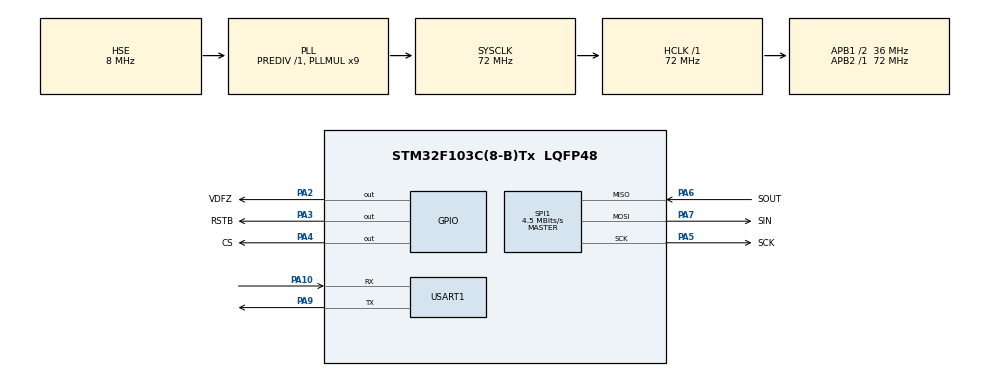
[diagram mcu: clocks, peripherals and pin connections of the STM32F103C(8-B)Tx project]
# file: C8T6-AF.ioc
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Mcu.Family=STM32F1
Mcu.Name=STM32F103C(8-B)Tx
Mcu.Package=LQFP48
NVIC.PriorityGroup=NVIC_PRIORITYGROUP_4
NVIC.SPI1_IRQn=true\:0\:0\:false\:false\:true\:true\:true\:true
NVIC.USART1_IRQn=true\:0\:0\:false\:false\:true\:true\:true\:true
PA10.Mode=Asynchronous
PA10.Signal=USART1_RX
PA13.Mode=Serial_Wire
PA13.Signal=SYS_JTMS-SWDIO
PA14.Mode=Serial_Wire
PA14.Signal=SYS_JTCK-SWCLK
PA2.GPIO_Label=VDFZ
PA2.GPIO_PuPd=GPIO_PULLDOWN
PA2.Signal=GPIO_Output
PA3.GPIO_Label=RSTB
PA3.GPIO_PuPd=GPIO_PULLUP
PA3.GPIO_Speed=GPIO_SPEED_FREQ_LOW
PA3.Signal=GPIO_Output
PA4.GPIO_Label=CS
PA4.GPIO_PuPd=GPIO_PULLDOWN
PA4.Signal=GPIO_Output
PA5.GPIO_Label=SCK
PA5.Mode=Full_Duplex_Master
PA5.Signal=SPI1_SCK
PA6.GPIO_Label=SOUT
PA6.Mode=Full_Duplex_Master
PA6.Signal=SPI1_MISO
PA7.GPIO_Label=SIN
PA7.Mode=Full_Duplex_Master
PA7.Signal=SPI1_MOSI
PA9.Mode=Asynchronous
PA9.Signal=USART1_TX
PC14-OSC32_IN.Mode=LSE-External-Oscillator
PC14-OSC32_IN.Signal=RCC_OSC32_IN
PC15-OSC32_OUT.Mode=LSE-External-Oscillator
PC15-OSC32_OUT.Signal=RCC_OSC32_OUT
PD0-OSC_IN.Mode=HSE-External-Oscillator
PD0-OSC_IN.Signal=RCC_OSC_IN
PD1-OSC_OUT.Mode=HSE-External-Oscillator
PD1-OSC_OUT.Signal=RCC_OSC_OUT
ProjectManager.HeapSize=0x200
ProjectManager.StackSize=0x400
ProjectManager.TargetToolchain=MDK-ARM V5.32
RCC.AHBFreq_Value=72000000
RCC.APB1CLKDivider=RCC_HCLK_DIV2
RCC.APB1Freq_Value=36000000
RCC.APB1TimFreq_Value=72000000
RCC.APB2Freq_Value=72000000
RCC.APB2TimFreq_Value=72000000
RCC.HCLKFreq_Value=72000000
RCC.PLLMUL=RCC_PLL_MUL9
RCC.PLLSourceVirtual=RCC_PLLSOURCE_HSE
RCC.SYSCLKFreq_VALUE=72000000
RCC.SYSCLKSource=RCC_SYSCLKSOURCE_PLLCLK
RCC.USBFreq_Value=72000000
SPI1.BaudRatePrescaler=SPI_BAUDRATEPRESCALER_16
SPI1.CLKPhase=SPI_PHASE_2EDGE
SPI1.CLKPolarity=SPI_POLARITY_HIGH
SPI1.CalculateBaudRate=4.5 MBits/s
SPI1.Direction=SPI_DIRECTION_2LINES
SPI1.FirstBit=SPI_FIRSTBIT_LSB
SPI1.Mode=SPI_MODE_MASTER
SPI1.VirtualType=VM_MASTER
USART1.VirtualMode=VM_ASYNC
board=custom

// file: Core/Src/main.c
/* USER CODE BEGIN Header */
/**
  ******************************************************************************
  * @file           : main.c
  * @brief          : Main program body
  ******************************************************************************
  * @attention
  *
  * Copyright (c) 2025 STMicroelectronics.
  * All rights reserved.
  *
  * This software is licensed under terms that can be found in the LICENSE file
  * in the root directory of this software component.
  * If no LICENSE file comes with this software, it is provided AS-IS.
  *
  ******************************************************************************
  */
/* USER CODE END Header */
#include "main.h"
#include "spi.h"
#include "usart.h"
#include "gpio.h"

/* USER CODE BEGIN Includes */
#include "ms41929.h"
#include <stdio.h>
#include <string.h>
/* USER CODE END Includes */

/* USER CODE BEGIN PD */
// COMMAND_TIMEOUT 已在 usart.h 中定义为 1000ms
/* USER CODE END PD */

//* USER CODE BEGIN PV */
// 电机控制相关配置（保留初始化所需的通道和细分默认值）
MS41929_MotorChannel_e motor_channel = MS41929_CHANNEL_AB;  // 默认电机通道
MS41929_SubdivisionMode_e subdiv_mode = MS41929_SUBDIV_64;  // 默认细分模式：64细分

// 显式声明外部串口句柄，防止 fputc 报 undefined 错误
extern UART_HandleTypeDef huart1;
/* USER CODE END PV */

void SystemClock_Config(void);

/* USER CODE BEGIN 0 */
/* USER CODE BEGIN 0 */
/**
  * @brief  重定向c库函数printf到USART
  * @param  ch: 要输出的字符
  * @param  f: 文件指针
  * @retval 输出的字符
  */
int fputc(int ch, FILE *f)
{
    uint8_t data = (uint8_t)ch;

    // 这里的 huart1 已在 PV 区通过 extern 成功引用
    if (HAL_UART_Transmit(&huart1, &data, 1, 100) != HAL_OK)
    {
        return -1;
    }

    return ch;
}

// 串口精简业务逻辑相关的外部函数与变量声明
extern void ProcessCommand(void);
extern void UART_Receive_Init(void);
volatile uint32_t last_command_time = 0;
volatile uint8_t system_is_timeout = 0;
volatile uint8_t motor_ab_state = 0;
volatile uint8_t motor_cd_state = 0;

/* 声明之前在中断里用的速度变量，并让它变成全局可用 */
volatile uint8_t default_speed = 1;
/* USER CODE END 0 */
/* USER CODE END 0 */

int main(void)
{

  /* MCU Configuration--------------------------------------------------------*/

  /* Reset of all peripherals, Initializes the Flash interface and the Systick. */
  HAL_Init();

  /* Configure the system clock */
  SystemClock_Config();

  /* Initialize all configured peripherals */
  MX_GPIO_Init();
  MX_SPI1_Init();
  MX_USART1_UART_Init();
  /* USER CODE BEGIN 2 */
  printf("STM32 Init.....");
  HAL_Delay(10);

  // 初始化步进电机
  MS41929_Stepper_Init(subdiv_mode);
  MS41929_SPI_Test();
  // 初始化串口
  UART_Receive_Init();

  printf("STM32 Init完成");

  MS41929_Stepper_Enable(MS41929_CHANNEL_AB, 1);
MS41929_Stepper_Enable(MS41929_CHANNEL_CD, 1);
HAL_Delay(10); // 给硬件一点稳定时间
  /* USER CODE END 2 */

 /* Infinite loop */
  /* USER CODE BEGIN WHILE */
  while (1)
  {
      // ====== 1. 检查指令超时（看门狗） ======
      if (HAL_GetTick() - last_command_time > COMMAND_TIMEOUT)
      {
          if (system_is_timeout == 0)
          {
              system_is_timeout = 1; // 标记进入安全超时状态

              // 强行把全局状态清零
              motor_ab_state = 0;
              motor_cd_state = 0;

              // 紧急抱死电机
              MS41929_Stepper_Stop(MS41929_CHANNEL_AB, 1);
              MS41929_Stepper_Stop(MS41929_CHANNEL_CD, 1);

              // 可以选择通过串口发一个 0x99 报警帧告知上位机
              uint8_t timeout_ack = 0x99;
              HAL_UART_Transmit(&huart1, &timeout_ack, 1, 10);
          }
      }

      // ====== 2. 如果系统正常（未超时），根据状态持续驱动电机 ======
      if (system_is_timeout == 0)
      {
          /* ---------- 持续驱动 AB 电机 ---------- */
          if (motor_ab_state == 1)
          {
              MS41929_Stepper_Run(MS41929_CHANNEL_AB, 1, default_speed); // 持续正转
          }
          else if (motor_ab_state == 2)
          {
              MS41929_Stepper_Run(MS41929_CHANNEL_AB, 0, default_speed); // 持续反转
          }

          /* ---------- 持续驱动 CD 电机 ---------- */
          if (motor_cd_state == 1)
          {
              MS41929_Stepper_Run(MS41929_CHANNEL_CD, 1, default_speed); // 持续正转
          }
          else if (motor_cd_state == 2)
          {
              MS41929_Stepper_Run(MS41929_CHANNEL_CD, 0, default_speed); // 持续反转
          }
      }

      // ====== 3. 扬声器发声状态机 ======
      Speaker_Process();

      HAL_Delay(5);  // 5ms 延时防止主循环灌爆 MS41929 SPI 总线
      /* USER CODE END WHILE */
  }
}

void SystemClock_Config(void)
{
  RCC_OscInitTypeDef RCC_OscInitStruct = {0};
  RCC_ClkInitTypeDef RCC_ClkInitStruct = {0};

  /** Initializes the RCC Oscillators according to the specified parameters
  * in the RCC_OscInitTypeDef structure.
  */
  RCC_OscInitStruct.OscillatorType = RCC_OSCILLATORTYPE_HSE;
  RCC_OscInitStruct.HSEState = RCC_HSE_ON;
  RCC_OscInitStruct.HSEPredivValue = RCC_HSE_PREDIV_DIV1;
  RCC_OscInitStruct.HSIState = RCC_HSI_ON;
  RCC_OscInitStruct.PLL.PLLState = RCC_PLL_ON;
  RCC_OscInitStruct.PLL.PLLSource = RCC_PLLSOURCE_HSE;
  RCC_OscInitStruct.PLL.PLLMUL = RCC_PLL_MUL9;
  if (HAL_RCC_OscConfig(&RCC_OscInitStruct) != HAL_OK)
  {
    Error_Handler();
  }

  /** Initializes the CPU, AHB and APB buses clocks
  */
  RCC_ClkInitStruct.ClockType = RCC_CLOCKTYPE_HCLK|RCC_CLOCKTYPE_SYSCLK
                              |RCC_CLOCKTYPE_PCLK1|RCC_CLOCKTYPE_PCLK2;
  RCC_ClkInitStruct.SYSCLKSource = RCC_SYSCLKSOURCE_PLLCLK;
  RCC_ClkInitStruct.AHBCLKDivider = RCC_SYSCLK_DIV1;
  RCC_ClkInitStruct.APB1CLKDivider = RCC_HCLK_DIV2;
  RCC_ClkInitStruct.APB2CLKDivider = RCC_HCLK_DIV1;

  if (HAL_RCC_ClockConfig(&RCC_ClkInitStruct, FLASH_LATENCY_2) != HAL_OK)
  {
    Error_Handler();
  }
}

/* USER CODE BEGIN 4 */

/**
 * @brief  测试MS41929 SPI通信
 * @param  无
 * @retval 无
 */
void MS41929_SPI_Test(void)
{
    uint16_t write_value, read_value;
    uint8_t test_reg = 0x24;  // 使用TESTEN1寄存器进行测试
    MS41929_TriggerVD_FZ();
    printf("\r\n=== MS41929 SPI test start ===\r\n");

    // Test 1: Write 0x0000 and read back
    write_value = 0x0000;
    MS41929_WriteReg(test_reg, write_value);
    HAL_Delay(10);  // Wait for write to complete
    read_value = MS41929_ReadReg(test_reg);
    printf("测试1: 写入0x%04X, 读取0x%04X %s\r\n",
           write_value, read_value, (read_value == write_value) ? "成功" : "失败");
    // Test 2: Write 0x1234 and read back
    write_value = 0x1034;
    MS41929_WriteReg(test_reg, write_value);
    HAL_Delay(10);  // Wait for write to complete
    read_value = MS41929_ReadReg(test_reg);
	printf("测试2: 写入0x%04X, 读取0x%04X %s\r\n",
           write_value, read_value, (read_value == write_value) ? "成功" : "失败");

    // Test 3: Write 0xABCD and read back
    write_value = 0xA8CD;
    MS41929_WriteReg(test_reg, write_value);
    HAL_Delay(10);  // Wait for write to complete
    read_value = MS41929_ReadReg(test_reg);
    printf("Test 3: Write 0x%04X, Read 0x%04X %s\r\n",
           write_value, read_value, (read_value == write_value) ? "Success" : "Fail");

    // Test 4: Write 0xFFFF and read back
    write_value = 0xFCFF;
    MS41929_WriteReg(test_reg, write_value);
    HAL_Delay(10);  // Wait for write to complete
    read_value = MS41929_ReadReg(test_reg);
    printf("Test 4: Write 0x%04X, Read 0x%04X %s\r\n",
           write_value, read_value, (read_value == write_value) ? "Success" : "Fail");

    // Restore register default value
    MS41929_WriteReg(test_reg, 0x0000);

    printf("=== MS41929 SPI test end ===\r\n\r\n");
}

/* USER CODE END 4 */

void Error_Handler(void)
{
  __disable_irq();
  while (1)
  {
  }
}
